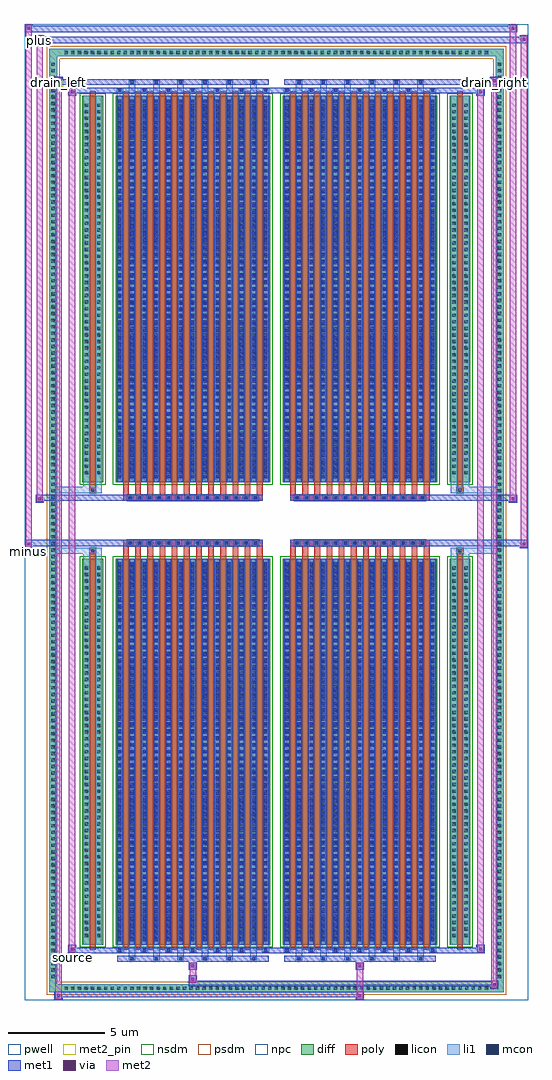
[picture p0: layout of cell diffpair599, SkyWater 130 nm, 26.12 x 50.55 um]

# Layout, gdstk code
import gdstk
lib = gdstk.Library(unit=1e-6, precision=5e-09)
def R(c, l, rs):  # rectangles x0, y0, x1, y1
    for r in rs: c.add(gdstk.rectangle(r[:2], r[2:], *l))
def A(c, l, x, y, w, h, nx, ny, dx, dy):  # array of equal rectangles
    R(c, l, [(x+i*dx, y+j*dy, x+i*dx+w, y+j*dy+h) for i in range(nx) for j in range(ny)])
def P(c, l, *ps):  # polygons
    for p in ps: c.add(gdstk.Polygon(p, *l))
pwell = (64, 44)
diff = (65, 20)
poly = (66, 20)
licon = (66, 44)
li1 = (67, 20)
mcon = (67, 44)
met1 = (68, 20)
via = (68, 44)
met2_pin = (69, 16)
met2 = (69, 20)
nsdm = (93, 44)
psdm = (94, 20)
npc = (95, 20)

diffpair599 = lib.new_cell('diffpair599')
R(diffpair599, pwell, [(-13.04,-24.84,13.04,25.71), (-10.36,-23.03,-0.01,-0.805), (0.01,-23.03,10.36,-0.805), (-10.36,0.805,-0.01,23.03), (0.01,0.805,10.36,23.03)])
A(diffpair599, diff, -11.085, -24.44, 0.41, 0.41, 65, 2, 0.34, 48.47)
A(diffpair599, diff, -11.77, -23.835, 0.41, 0.41, 1, 140, 0, 0.34)
A(diffpair599, diff, 11.36, -23.835, 0.41, 0.41, 1, 140, 0, 0.34)
R(diffpair599, diff, [(-11.085,-24.44,11.085,-24.03), (-11.77,-23.835,-11.36,23.835), (11.36,-23.835,11.77,23.835), (-10.05,-21.985,-8.97,-1.985), (-8.33,-21.985,-0.32,-1.985), (0.32,-21.985,8.33,-1.985), (8.97,-21.985,10.05,-1.985), (-10.05,1.985,-8.97,21.985), (-8.33,1.985,-0.32,21.985), (0.32,1.985,8.33,21.985), (8.97,1.985,10.05,21.985), (-11.085,24.03,11.085,24.44)])
P(diffpair599, diff, [(11.77,24.44),(-11.77,24.44),(-11.77,-24.03),(-11.36,-24.03),(-11.36,24.03),(11.36,24.03),(11.36,-24.03),(-11.36,-24.03),(-11.77,-24.03),(-11.77,-24.44),(11.77,-24.44)])
A(diffpair599, poly, -7.94, -22.235, 0.3, 20.5, 12, 2, 0.63, 23.97)
A(diffpair599, poly, 0.71, -22.235, 0.3, 20.5, 12, 2, 0.63, 23.97)
A(diffpair599, poly, -7.94, -1.735, 0.3, 0.4, 12, 2, 0.63, 3.07)
A(diffpair599, poly, 0.71, -1.735, 0.3, 0.4, 12, 2, 0.63, 3.07)
A(diffpair599, poly, -7.74, -1.335, 0.33, 0.33, 14, 2, 0.5, 2.34)
A(diffpair599, poly, 0.91, -1.335, 0.33, 0.33, 14, 2, 0.5, 2.34)
R(diffpair599, poly, [(-9.66,-22.235,-9.36,-1.735), (9.36,-22.235,9.66,-1.735), (-9.675,-1.735,-9.345,-1.405), (-9.675,-1.735,-9.345,-1.405), (9.345,-1.735,9.675,-1.405), (9.345,-1.735,9.675,-1.405), (-7.94,-1.335,-0.71,-1.005), (0.71,-1.335,7.94,-1.005), (-7.94,1.005,-0.71,1.335), (0.71,1.005,7.94,1.335), (-9.675,1.405,-9.345,1.735), (-9.675,1.405,-9.345,1.735), (9.345,1.405,9.675,1.735), (9.345,1.405,9.675,1.735), (-9.66,1.735,-9.36,22.235), (9.36,1.735,9.66,22.235)])
A(diffpair599, licon, -10.965, -24.32, 0.17, 0.17, 65, 2, 0.34, 48.47)
A(diffpair599, licon, -11.65, -23.715, 0.17, 0.17, 1, 140, 0, 0.34)
A(diffpair599, licon, 11.48, -23.715, 0.17, 0.17, 1, 140, 0, 0.34)
A(diffpair599, licon, -9.91, -21.59, 0.17, 0.17, 1, 57, 0, 0.34)
A(diffpair599, licon, -9.28, -21.59, 0.17, 0.17, 1, 57, 0, 0.34)
A(diffpair599, licon, -8.19, -21.59, 0.17, 0.17, 13, 57, 0.63, 0.34)
A(diffpair599, licon, 0.46, -21.59, 0.17, 0.17, 13, 57, 0.63, 0.34)
A(diffpair599, licon, 9.11, -21.59, 0.17, 0.17, 1, 57, 0, 0.34)
A(diffpair599, licon, 9.74, -21.59, 0.17, 0.17, 1, 57, 0, 0.34)
A(diffpair599, licon, -7.66, -1.255, 0.17, 0.17, 14, 2, 0.5, 2.34)
A(diffpair599, licon, 0.99, -1.255, 0.17, 0.17, 14, 2, 0.5, 2.34)
A(diffpair599, licon, -9.91, 2.38, 0.17, 0.17, 1, 57, 0, 0.34)
A(diffpair599, licon, -9.28, 2.38, 0.17, 0.17, 1, 57, 0, 0.34)
A(diffpair599, licon, -8.19, 2.38, 0.17, 0.17, 13, 57, 0.63, 0.34)
A(diffpair599, licon, 0.46, 2.38, 0.17, 0.17, 13, 57, 0.63, 0.34)
A(diffpair599, licon, 9.11, 2.38, 0.17, 0.17, 1, 57, 0, 0.34)
A(diffpair599, licon, 9.74, 2.38, 0.17, 0.17, 1, 57, 0, 0.34)
R(diffpair599, licon, [(-9.595,-1.655,-9.425,-1.485), (9.425,-1.655,9.595,-1.485), (-9.595,1.485,-9.425,1.655), (9.425,1.485,9.595,1.655)])
A(diffpair599, li1, -11.045, -24.4, 0.33, 0.33, 65, 2, 0.34, 48.47)
A(diffpair599, li1, -11.73, -23.795, 0.33, 0.33, 1, 140, 0, 0.34)
A(diffpair599, li1, 11.4, -23.795, 0.33, 0.33, 1, 140, 0, 0.34)
A(diffpair599, li1, -7.64, -22.79, 0.33, 0.805, 6, 2, 1.26, 44.775)
A(diffpair599, li1, -7.56, -22.79, 0.17, 0.17, 6, 2, 1.26, 45.41)
A(diffpair599, li1, 1.01, -22.79, 0.33, 0.805, 6, 2, 1.26, 44.775)
A(diffpair599, li1, 1.09, -22.79, 0.17, 0.17, 6, 2, 1.26, 45.41)
A(diffpair599, li1, -8.27, -22.36, 0.33, 0.375, 7, 2, 1.26, 44.345)
A(diffpair599, li1, -8.19, -22.36, 0.17, 0.17, 7, 2, 1.26, 44.55)
A(diffpair599, li1, 0.38, -22.36, 0.33, 0.375, 7, 2, 1.26, 44.345)
A(diffpair599, li1, 0.46, -22.36, 0.17, 0.17, 7, 2, 1.26, 44.55)
A(diffpair599, li1, -8.27, -21.985, 0.33, 20, 13, 2, 0.63, 23.97)
A(diffpair599, li1, 0.38, -21.985, 0.33, 20, 13, 2, 0.63, 23.97)
A(diffpair599, li1, -8.19, -21.79, 0.17, 0.17, 13, 55, 0.63, 0.36)
A(diffpair599, li1, -8.19, -21.79, 0.17, 19.61, 13, 2, 0.63, 23.97)
A(diffpair599, li1, 0.46, -21.79, 0.17, 0.17, 13, 55, 0.63, 0.36)
A(diffpair599, li1, 0.46, -21.79, 0.17, 19.61, 13, 2, 0.63, 23.97)
A(diffpair599, li1, -9.99, -21.67, 0.33, 0.33, 1, 57, 0, 0.34)
A(diffpair599, li1, -9.36, -21.67, 0.33, 0.33, 1, 57, 0, 0.34)
A(diffpair599, li1, -8.27, -21.67, 0.33, 0.33, 13, 57, 0.63, 0.34)
A(diffpair599, li1, 0.38, -21.67, 0.33, 0.33, 13, 57, 0.63, 0.34)
A(diffpair599, li1, 9.03, -21.67, 0.33, 0.33, 1, 57, 0, 0.34)
A(diffpair599, li1, 9.66, -21.67, 0.33, 0.33, 1, 57, 0, 0.34)
A(diffpair599, li1, -7.74, -1.335, 0.33, 0.33, 14, 2, 0.5, 2.34)
A(diffpair599, li1, 0.91, -1.335, 0.33, 0.33, 14, 2, 0.5, 2.34)
A(diffpair599, li1, -8.19, 2.18, 0.17, 0.17, 13, 55, 0.63, 0.36)
A(diffpair599, li1, 0.46, 2.18, 0.17, 0.17, 13, 55, 0.63, 0.36)
A(diffpair599, li1, -9.99, 2.3, 0.33, 0.33, 1, 57, 0, 0.34)
A(diffpair599, li1, -9.36, 2.3, 0.33, 0.33, 1, 57, 0, 0.34)
A(diffpair599, li1, -8.27, 2.3, 0.33, 0.33, 13, 57, 0.63, 0.34)
A(diffpair599, li1, 0.38, 2.3, 0.33, 0.33, 13, 57, 0.63, 0.34)
A(diffpair599, li1, 9.03, 2.3, 0.33, 0.33, 1, 57, 0, 0.34)
A(diffpair599, li1, 9.66, 2.3, 0.33, 0.33, 1, 57, 0, 0.34)
R(diffpair599, li1, [(-11.77,-24.44,-11.36,-24.03), (-11.77,-24.44,-11.36,-24.03), (-11.36,-24.44,11.36,-24.03), (11.36,-24.44,11.77,-24.03), (11.36,-24.44,11.77,-24.03), (-11.77,-24.03,-11.36,24.03), (11.36,-24.03,11.77,24.03), (-9.99,-21.985,-9.66,-1.985), (-9.36,-21.985,-9.03,-1.985), (9.03,-21.985,9.36,-1.985), (9.66,-21.985,9.99,-1.985), (-9.99,-1.985,-9.66,-1.405), (-9.36,-1.985,-9.03,-1.405), (9.03,-1.985,9.36,-1.405), (9.66,-1.985,9.99,-1.405), (-11.77,-1.735,-9.675,-1.405), (-9.99,-1.735,-9.675,-1.405), (-9.675,-1.735,-9.345,-1.405), (-9.345,-1.735,-9.03,-1.405), (9.03,-1.735,9.345,-1.405), (9.345,-1.735,9.675,-1.405), (9.345,-1.735,11.77,-1.405), (9.675,-1.735,9.99,-1.405), (-11.77,1.405,-9.675,1.735), (-9.99,1.405,-9.675,1.735), (-9.99,1.405,-9.66,1.985), (-9.675,1.405,-9.345,1.735), (-9.36,1.405,-9.03,1.985), (-9.345,1.405,-9.03,1.735), (9.03,1.405,9.345,1.735), (9.03,1.405,9.36,1.985), (9.345,1.405,9.675,1.735), (9.345,1.405,11.77,1.735), (9.66,1.405,9.99,1.985), (9.675,1.405,9.99,1.735), (-9.99,1.985,-9.66,21.985), (-9.36,1.985,-9.03,21.985), (9.03,1.985,9.36,21.985), (9.66,1.985,9.99,21.985), (-11.77,24.03,-11.36,24.44), (-11.77,24.03,-11.36,24.44), (-11.36,24.03,11.36,24.44), (11.36,24.03,11.77,24.44), (11.36,24.03,11.77,24.44)])
A(diffpair599, mcon, -7.56, -22.79, 0.17, 0.17, 6, 2, 1.26, 45.41)
A(diffpair599, mcon, 1.09, -22.79, 0.17, 0.17, 6, 2, 1.26, 45.41)
A(diffpair599, mcon, -8.19, -22.36, 0.17, 0.17, 7, 2, 1.26, 44.55)
A(diffpair599, mcon, 0.46, -22.36, 0.17, 0.17, 7, 2, 1.26, 44.55)
A(diffpair599, mcon, -8.19, -21.79, 0.17, 0.17, 13, 55, 0.63, 0.36)
A(diffpair599, mcon, 0.46, -21.79, 0.17, 0.17, 13, 55, 0.63, 0.36)
A(diffpair599, mcon, -7.66, -1.255, 0.17, 0.17, 14, 2, 0.5, 2.34)
A(diffpair599, mcon, 0.99, -1.255, 0.17, 0.17, 14, 2, 0.5, 2.34)
A(diffpair599, mcon, -8.19, 2.18, 0.17, 0.17, 13, 55, 0.63, 0.36)
A(diffpair599, mcon, 0.46, 2.18, 0.17, 0.17, 13, 55, 0.63, 0.36)
A(diffpair599, met1, -7.62, -22.85, 0.29, 0.29, 6, 2, 1.26, 45.41)
A(diffpair599, met1, 1.03, -22.85, 0.29, 0.29, 6, 2, 1.26, 45.41)
A(diffpair599, met1, -8.25, -22.42, 0.29, 0.29, 7, 2, 1.26, 44.55)
A(diffpair599, met1, 0.4, -22.42, 0.29, 0.29, 7, 2, 1.26, 44.55)
A(diffpair599, met1, -8.25, -21.985, 0.29, 20, 13, 2, 0.63, 23.97)
A(diffpair599, met1, 0.4, -21.985, 0.29, 20, 13, 2, 0.63, 23.97)
A(diffpair599, met1, -8.25, -21.85, 0.29, 0.29, 13, 55, 0.63, 0.36)
A(diffpair599, met1, 0.4, -21.85, 0.29, 0.29, 13, 55, 0.63, 0.36)
A(diffpair599, met1, -7.72, -1.315, 0.29, 0.29, 14, 2, 0.5, 2.34)
A(diffpair599, met1, 0.93, -1.315, 0.29, 0.29, 14, 2, 0.5, 2.34)
A(diffpair599, met1, -8.25, 2.12, 0.29, 0.29, 13, 55, 0.63, 0.36)
A(diffpair599, met1, 0.4, 2.12, 0.29, 0.29, 13, 55, 0.63, 0.36)
R(diffpair599, met1, [(-11.5,-24.84,-11.07,-24.41), (4.11,-24.84,4.54,-24.41), (-11.5,-24.7,4.54,-24.41), (11.07,-24.27,11.5,-23.84), (-4.54,-24.13,11.5,-23.84), (-4.54,-23.99,-4.11,-23.56), (-4.54,-23.28,-4.11,-22.85), (4.11,-23.28,4.54,-22.85), (-8.25,-22.85,-0.4,-22.56), (0.4,-22.85,8.25,-22.56), (-10.79,-22.42,-10.36,-21.99), (-10.79,-22.42,-8.25,-22.13), (-8.25,-22.42,-0.4,-22.13), (-0.4,-22.42,0.4,-22.13), (0.4,-22.42,8.25,-22.13), (8.25,-22.42,10.79,-22.13), (10.36,-22.42,10.79,-21.99), (-13.04,-1.435,-12.61,-1.005), (12.61,-1.435,13.04,-1.005), (-13.04,-1.335,-0.71,-1.005), (-7.94,-1.335,-0.71,-1.005), (0.71,-1.335,7.94,-1.005), (0.71,-1.335,13.04,-1.005), (-12.47,0.905,-12.04,1.335), (12.04,0.905,12.47,1.335), (-12.47,1.005,-7.94,1.335), (-7.94,1.005,-0.71,1.335), (0.71,1.005,7.94,1.335), (7.94,1.005,12.47,1.335), (-10.79,21.99,-10.36,22.42), (10.36,21.99,10.79,22.42), (-10.79,22.13,-8.25,22.42), (-8.25,22.13,-0.4,22.42), (-0.4,22.13,0.4,22.42), (0.4,22.13,8.25,22.42), (8.25,22.13,10.79,22.42), (-11.5,22.56,-11.07,22.99), (-11.5,22.56,-8.25,22.85), (-8.25,22.56,-0.4,22.85), (0.4,22.56,8.25,22.85), (8.25,22.56,11.5,22.85), (11.07,22.56,11.5,22.99), (-12.47,24.71,-12.04,25.14), (-12.47,24.71,-10.36,25.04), (-10.36,24.71,10.36,25.04), (10.36,24.71,13.04,25.04), (12.61,24.71,13.04,25.14), (-13.04,25.28,-12.61,25.71), (-13.04,25.28,-10.36,25.61), (-10.36,25.28,10.36,25.61), (10.36,25.28,12.47,25.61), (12.04,25.28,12.47,25.71)])
R(diffpair599, via, [(-11.36,-24.7,-11.21,-24.55), (4.25,-24.7,4.4,-24.55), (11.21,-24.13,11.36,-23.98), (-4.4,-23.85,-4.25,-23.7), (-4.4,-23.14,-4.25,-22.99), (4.25,-23.14,4.4,-22.99), (-10.65,-22.28,-10.5,-22.13), (10.5,-22.28,10.65,-22.13), (-12.9,-1.295,-12.75,-1.145), (12.75,-1.295,12.9,-1.145), (-12.33,1.045,-12.18,1.195), (12.18,1.045,12.33,1.195), (-10.65,22.13,-10.5,22.28), (10.5,22.13,10.65,22.28), (-11.36,22.7,-11.21,22.85), (11.21,22.7,11.36,22.85), (-12.33,24.85,-12.18,25), (12.75,24.85,12.9,25), (-12.9,25.42,-12.75,25.57), (12.18,25.42,12.33,25.57)])
R(diffpair599, met2_pin, [(-10.825,-22.87,-10.325,-22.37), (-13.075,-1.885,-12.575,-1.385), (-11.535,22.44,-11.035,22.94), (11.035,22.44,11.535,22.94), (-12.505,24.59,-12.005,25.09)])
R(diffpair599, met2, [(-11.45,-24.79,-11.12,-24.46), (-11.45,-24.79,-11.12,22.94), (4.16,-24.79,4.49,-24.46), (4.16,-24.46,4.49,-23.23), (11.12,-24.22,11.45,-23.89), (11.12,-24.22,11.45,22.94), (-4.49,-23.94,-4.16,-23.61), (-4.49,-23.61,-4.16,-23.23), (-4.49,-23.23,-4.16,-22.9), (4.16,-23.23,4.49,-22.9), (-10.74,-22.37,-10.41,-22.04), (-10.74,-22.37,-10.41,22.37), (10.41,-22.37,10.74,-22.04), (10.41,-22.37,10.74,22.37), (-12.99,-1.385,-12.66,-1.055), (-12.99,-1.385,-12.66,25.66), (12.66,-1.385,12.99,-1.055), (12.66,-1.385,12.99,25.09), (-12.42,0.955,-12.09,1.285), (-12.42,0.955,-12.09,25.09), (12.09,0.955,12.42,1.285), (12.09,0.955,12.42,25.66), (-10.74,22.04,-10.41,22.37), (10.41,22.04,10.74,22.37), (-11.45,22.61,-11.12,22.94), (11.12,22.61,11.45,22.94), (-12.42,24.76,-12.09,25.09), (12.66,24.76,12.99,25.09), (-12.99,25.33,-12.66,25.66), (12.09,25.33,12.42,25.66)])
P(diffpair599, met2, [(12.99,-1.385),(12.99,-1.385),(12.99,-1.055),(12.99,-1.055)],
  [(12.99,24.76),(12.99,24.76),(12.99,25.09),(12.99,25.09)],
  [(-12.66,-1.385),(-12.66,-1.385),(-12.66,-1.055),(-12.66,-1.055)],
  [(-12.66,25.33),(-12.66,25.33),(-12.66,25.66),(-12.66,25.66)],
  [(12.42,0.955),(12.42,0.955),(12.42,1.285),(12.42,1.285)],
  [(12.42,25.33),(12.42,25.33),(12.42,25.66),(12.42,25.66)],
  [(-12.09,0.955),(-12.09,0.955),(-12.09,1.285),(-12.09,1.285)],
  [(-12.09,24.76),(-12.09,24.76),(-12.09,25.09),(-12.09,25.09)],
  [(-11.12,-24.79),(-11.12,-24.79),(-11.12,-24.46),(-11.12,-24.46)],
  [(-11.12,22.61),(-11.12,22.61),(-11.12,22.94),(-11.12,22.94)],
  [(11.45,-24.22),(11.45,-24.22),(11.45,-23.89),(11.45,-23.89)],
  [(11.45,22.61),(11.45,22.61),(11.45,22.94),(11.45,22.94)],
  [(-10.41,-22.37),(-10.41,-22.37),(-10.41,-22.04),(-10.41,-22.04)],
  [(-10.41,22.04),(-10.41,22.04),(-10.41,22.37),(-10.41,22.37)],
  [(10.74,-22.37),(10.74,-22.37),(10.74,-22.04),(10.74,-22.04)],
  [(10.74,22.04),(10.74,22.04),(10.74,22.37),(10.74,22.37)])
R(diffpair599, nsdm, [(-10.18,-22.115,-8.84,-1.855), (-8.46,-22.115,-0.19,-1.855), (0.19,-22.115,8.46,-1.855), (8.84,-22.115,10.18,-1.855), (-10.18,1.855,-8.84,22.115), (-8.46,1.855,-0.19,22.115), (0.19,1.855,8.46,22.115), (8.84,1.855,10.18,22.115)])
P(diffpair599, psdm, [(11.9,24.57),(-11.9,24.57),(-11.9,-23.9),(-11.23,-23.9),(-11.23,23.9),(11.23,23.9),(11.23,-23.9),(-11.23,-23.9),(-11.9,-23.9),(-11.9,-24.57),(11.9,-24.57)])
A(diffpair599, npc, -7.76, -1.355, 0.37, 0.37, 14, 2, 0.5, 2.34)
A(diffpair599, npc, 0.89, -1.355, 0.37, 0.37, 14, 2, 0.5, 2.34)
R(diffpair599, npc, [(-9.695,-1.755,-9.325,-1.385), (9.325,-1.755,9.695,-1.385), (-7.76,-1.355,-6.89,-0.985), (-7.76,-1.355,-6.89,-0.985), (-7.26,-1.355,-6.39,-0.985), (-7.26,-1.355,-6.39,-0.985), (-6.76,-1.355,-5.89,-0.985), (-6.76,-1.355,-5.89,-0.985), (-6.26,-1.355,-5.39,-0.985), (-6.26,-1.355,-5.39,-0.985), (-5.76,-1.355,-4.89,-0.985), (-5.76,-1.355,-4.89,-0.985), (-5.26,-1.355,-4.39,-0.985), (-5.26,-1.355,-4.39,-0.985), (-4.76,-1.355,-3.89,-0.985), (-4.76,-1.355,-3.89,-0.985), (-4.26,-1.355,-3.39,-0.985), (-4.26,-1.355,-3.39,-0.985), (-3.76,-1.355,-2.89,-0.985), (-3.76,-1.355,-2.89,-0.985), (-3.26,-1.355,-2.39,-0.985), (-3.26,-1.355,-2.39,-0.985), (-2.76,-1.355,-1.89,-0.985), (-2.76,-1.355,-1.89,-0.985), (-2.26,-1.355,-1.39,-0.985), (-2.26,-1.355,-1.39,-0.985), (-1.76,-1.355,-0.89,-0.985), (-1.76,-1.355,-0.89,-0.985), (0.89,-1.355,1.76,-0.985), (0.89,-1.355,1.76,-0.985), (1.39,-1.355,2.26,-0.985), (1.39,-1.355,2.26,-0.985), (1.89,-1.355,2.76,-0.985), (1.89,-1.355,2.76,-0.985), (2.39,-1.355,3.26,-0.985), (2.39,-1.355,3.26,-0.985), (2.89,-1.355,3.76,-0.985), (2.89,-1.355,3.76,-0.985), (3.39,-1.355,4.26,-0.985), (3.39,-1.355,4.26,-0.985), (3.89,-1.355,4.76,-0.985), (3.89,-1.355,4.76,-0.985), (4.39,-1.355,5.26,-0.985), (4.39,-1.355,5.26,-0.985), (4.89,-1.355,5.76,-0.985), (4.89,-1.355,5.76,-0.985), (5.39,-1.355,6.26,-0.985), (5.39,-1.355,6.26,-0.985), (5.89,-1.355,6.76,-0.985), (5.89,-1.355,6.76,-0.985), (6.39,-1.355,7.26,-0.985), (6.39,-1.355,7.26,-0.985), (6.89,-1.355,7.76,-0.985), (6.89,-1.355,7.76,-0.985), (-7.76,0.985,-6.89,1.355), (-7.76,0.985,-6.89,1.355), (-7.26,0.985,-6.39,1.355), (-7.26,0.985,-6.39,1.355), (-6.76,0.985,-5.89,1.355), (-6.76,0.985,-5.89,1.355), (-6.26,0.985,-5.39,1.355), (-6.26,0.985,-5.39,1.355), (-5.76,0.985,-4.89,1.355), (-5.76,0.985,-4.89,1.355), (-5.26,0.985,-4.39,1.355), (-5.26,0.985,-4.39,1.355), (-4.76,0.985,-3.89,1.355), (-4.76,0.985,-3.89,1.355), (-4.26,0.985,-3.39,1.355), (-4.26,0.985,-3.39,1.355), (-3.76,0.985,-2.89,1.355), (-3.76,0.985,-2.89,1.355), (-3.26,0.985,-2.39,1.355), (-3.26,0.985,-2.39,1.355), (-2.76,0.985,-1.89,1.355), (-2.76,0.985,-1.89,1.355), (-2.26,0.985,-1.39,1.355), (-2.26,0.985,-1.39,1.355), (-1.76,0.985,-0.89,1.355), (-1.76,0.985,-0.89,1.355), (0.89,0.985,1.76,1.355), (0.89,0.985,1.76,1.355), (1.39,0.985,2.26,1.355), (1.39,0.985,2.26,1.355), (1.89,0.985,2.76,1.355), (1.89,0.985,2.76,1.355), (2.39,0.985,3.26,1.355), (2.39,0.985,3.26,1.355), (2.89,0.985,3.76,1.355), (2.89,0.985,3.76,1.355), (3.39,0.985,4.26,1.355), (3.39,0.985,4.26,1.355), (3.89,0.985,4.76,1.355), (3.89,0.985,4.76,1.355), (4.39,0.985,5.26,1.355), (4.39,0.985,5.26,1.355), (4.89,0.985,5.76,1.355), (4.89,0.985,5.76,1.355), (5.39,0.985,6.26,1.355), (5.39,0.985,6.26,1.355), (5.89,0.985,6.76,1.355), (5.89,0.985,6.76,1.355), (6.39,0.985,7.26,1.355), (6.39,0.985,7.26,1.355), (6.89,0.985,7.76,1.355), (6.89,0.985,7.76,1.355), (-9.695,1.385,-9.325,1.755), (9.325,1.385,9.695,1.755)])
diffpair599.add(gdstk.Label('minus', (-12.825,-1.635), layer=69, texttype=5))
diffpair599.add(gdstk.Label('drain_right', (11.285,22.69), layer=69, texttype=5))
diffpair599.add(gdstk.Label('drain_left', (-11.285,22.69), layer=69, texttype=5))
diffpair599.add(gdstk.Label('source', (-10.575,-22.62), layer=69, texttype=5))
diffpair599.add(gdstk.Label('plus', (-12.255,24.84), layer=69, texttype=5))

lib.write_gds('diffpair599.gds')
